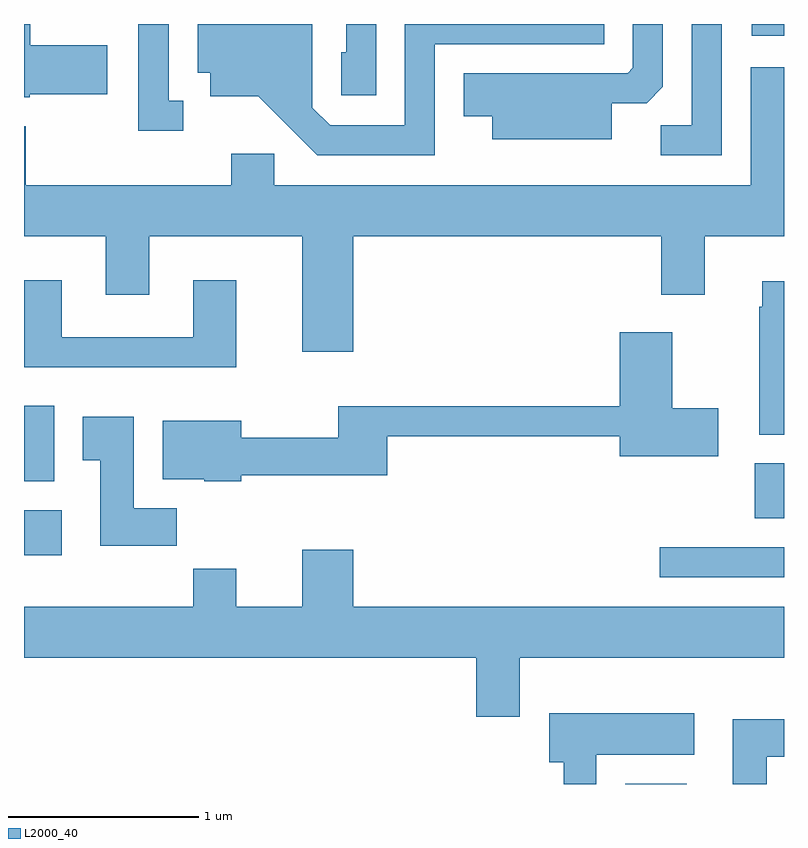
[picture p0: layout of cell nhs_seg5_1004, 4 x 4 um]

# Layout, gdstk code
import gdstk
lib = gdstk.Library(unit=1e-6, precision=1e-09)
def R(c, l, rs):  # rectangles x0, y0, x1, y1
    for r in rs: c.add(gdstk.rectangle(r[:2], r[2:], *l))
def P(c, l, *ps):  # polygons
    for p in ps: c.add(gdstk.Polygon(p, *l))
L2000_40 = (2000, 40)

nhs_seg5_1004 = lib.new_cell('nhs_seg5_1004')
R(nhs_seg5_1004, L2000_40, [(216.776,1516.072,217.099,1516.074), (216.958,1517.161,217.611,1517.319), (213.611,1517.276,213.809,1517.514), (217.456,1517.471,217.611,1517.759), (213.611,1517.666,213.769,1518.064), (217.441,1520.011,217.611,1520.072)])
P(nhs_seg5_1004, L2000_40, [(215.464,1520.072),(215.306,1520.072),(215.306,1519.924),(215.281,1519.924),(215.281,1519.696),(215.464,1519.696)],
  [(213.64,1519.701),(214.049,1519.701),(214.049,1519.959),(213.644,1519.959),(213.644,1520.072),(213.611,1520.072),(213.611,1519.686),(213.64,1519.686)],
  [(217.284,1520.072),(217.126,1520.072),(217.126,1519.539),(216.963,1519.539),(216.963,1519.381),(217.284,1519.381)],
  [(216.704,1519.656),(216.889,1519.656),(216.974,1519.742),(216.974,1520.072),(216.816,1520.072),(216.816,1519.842),(216.789,1519.814),(215.926,1519.814),(215.926,1519.586),(216.076,1519.586),(216.076,1519.466),(216.704,1519.466)],
  [(214.448,1519.669),(214.374,1519.669),(214.374,1520.072),(214.211,1520.072),(214.211,1519.511),(214.448,1519.511)],
  [(215.774,1519.966),(216.664,1519.966),(216.664,1520.072),(215.616,1520.072),(215.616,1519.539),(215.222,1519.539),(215.129,1519.632),(215.129,1520.072),(214.526,1520.072),(214.526,1519.816),(214.591,1519.816),(214.591,1519.691),(214.844,1519.691),(215.154,1519.381),(215.774,1519.381)],
  [(215.344,1518.956),(216.966,1518.956),(216.966,1518.646),(217.194,1518.646),(217.194,1518.956),(217.611,1518.956),(217.611,1519.844),(217.436,1519.844),(217.436,1519.224),(214.929,1519.224),(214.929,1519.389),(214.701,1519.389),(214.701,1519.224),(213.619,1519.224),(213.619,1519.534),(213.611,1519.534),(213.611,1518.956),(214.041,1518.956),(214.041,1518.646),(214.269,1518.646),(214.269,1518.956),(215.076,1518.956),(215.076,1518.346),(215.344,1518.346)],
  [(214.729,1518.724),(214.501,1518.724),(214.501,1518.424),(213.809,1518.424),(213.809,1518.724),(213.611,1518.724),(213.611,1518.266),(214.729,1518.266)],
  [(217.611,1518.719),(217.496,1518.719),(217.496,1518.585),(217.481,1518.585),(217.481,1517.911),(217.611,1517.911)],
  [(214.754,1517.696),(215.524,1517.696),(215.524,1517.901),(216.746,1517.901),(216.746,1517.796),(217.264,1517.796),(217.264,1518.049),(217.024,1518.049),(217.024,1518.449),(216.746,1518.449),(216.746,1518.059),(215.266,1518.059),(215.266,1517.894),(214.754,1517.894),(214.754,1517.984),(214.341,1517.984),(214.341,1517.676),(214.56,1517.676),(214.56,1517.666),(214.754,1517.666)],
  [(214.414,1517.524),(214.189,1517.524),(214.189,1518.004),(213.921,1518.004),(213.921,1517.776),(214.011,1517.776),(214.011,1517.326),(214.414,1517.326)],
  [(216.219,1516.736),(217.611,1516.736),(217.611,1517.004),(215.344,1517.004),(215.344,1517.304),(215.076,1517.304),(215.076,1517.004),(214.729,1517.004),(214.729,1517.204),(214.501,1517.204),(214.501,1517.004),(213.611,1517.004),(213.611,1516.736),(215.991,1516.736),(215.991,1516.426),(216.219,1516.426)],
  [(216.624,1516.226),(217.139,1516.226),(217.139,1516.444),(216.376,1516.444),(216.376,1516.186),(216.451,1516.186),(216.451,1516.072),(216.624,1516.072)],
  [(217.519,1516.216),(217.611,1516.216),(217.611,1516.414),(217.341,1516.414),(217.341,1516.072),(217.519,1516.072)])

lib.write_gds('nhs_seg5_1004.gds')
